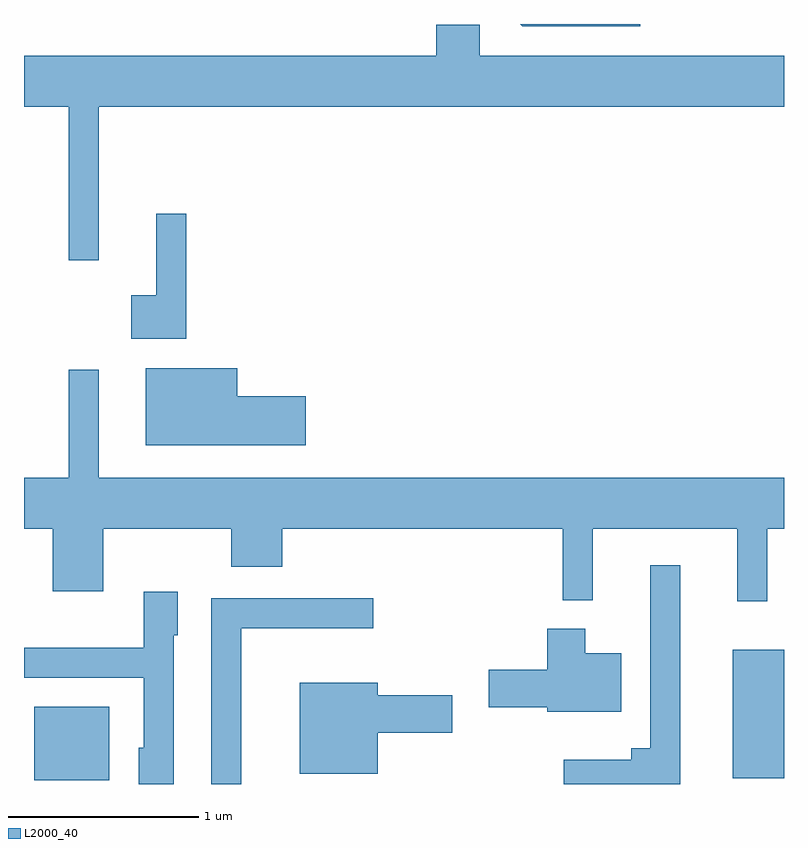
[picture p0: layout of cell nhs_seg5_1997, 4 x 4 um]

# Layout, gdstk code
import gdstk
lib = gdstk.Library(unit=1e-6, precision=1e-09)
def R(c, l, rs):  # rectangles x0, y0, x1, y1
    for r in rs: c.add(gdstk.rectangle(r[:2], r[2:], *l))
def P(c, l, *ps):  # polygons
    for p in ps: c.add(gdstk.Polygon(p, *l))
L2000_40 = (2000, 40)

nhs_seg5_1997 = lib.new_cell('nhs_seg5_1997')
R(nhs_seg5_1997, L2000_40, [(243.666,1502.091,244.059,1502.479), (247.341,1502.101,247.611,1502.779)])
P(nhs_seg5_1997, L2000_40, [(246.854,1506.072),(246.223,1506.072),(246.234,1506.061),(246.854,1506.061)],
  [(244.004,1505.636),(247.611,1505.636),(247.611,1505.904),(246.009,1505.904),(246.009,1506.069),(245.781,1506.069),(245.781,1505.904),(243.611,1505.904),(243.611,1505.636),(243.846,1505.636),(243.846,1504.828),(244.004,1504.828)],
  [(244.464,1505.073),(244.306,1505.073),(244.306,1504.644),(244.176,1504.644),(244.176,1504.416),(244.464,1504.416)],
  [(245.094,1504.114),(244.734,1504.114),(244.734,1504.259),(244.251,1504.259),(244.251,1503.856),(245.094,1503.856)],
  [(247.524,1503.416),(247.611,1503.416),(247.611,1503.684),(244.004,1503.684),(244.004,1504.253),(243.846,1504.253),(243.846,1503.684),(243.611,1503.684),(243.611,1503.416),(243.761,1503.416),(243.761,1503.086),(244.029,1503.086),(244.029,1503.416),(244.701,1503.416),(244.701,1503.216),(244.969,1503.216),(244.969,1503.416),(246.446,1503.416),(246.446,1503.038),(246.604,1503.038),(246.604,1503.416),(247.366,1503.416),(247.366,1503.033),(247.524,1503.033)],
  [(247.064,1503.223),(246.906,1503.223),(246.906,1502.259),(246.806,1502.259),(246.806,1502.199),(246.451,1502.199),(246.451,1502.072),(247.064,1502.072)],
  [(244.399,1502.856),(244.419,1502.856),(244.419,1503.084),(244.241,1503.084),(244.241,1502.789),(243.611,1502.789),(243.611,1502.631),(244.241,1502.631),(244.241,1502.264),(244.216,1502.264),(244.216,1502.072),(244.399,1502.072)],
  [(244.754,1502.891),(245.448,1502.891),(245.448,1503.049),(244.596,1503.049),(244.596,1502.072),(244.754,1502.072)],
  [(246.754,1502.759),(246.564,1502.759),(246.564,1502.889),(246.366,1502.889),(246.366,1502.674),(246.056,1502.674),(246.056,1502.476),(246.366,1502.476),(246.366,1502.451),(246.754,1502.451)],
  [(245.474,1502.341),(245.864,1502.341),(245.864,1502.539),(245.474,1502.539),(245.474,1502.604),(245.061,1502.604),(245.061,1502.126),(245.474,1502.126)])

lib.write_gds('nhs_seg5_1997.gds')
